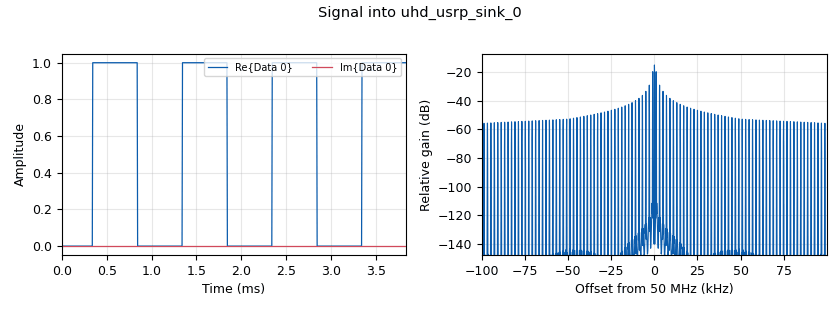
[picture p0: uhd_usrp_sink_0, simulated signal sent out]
options:
  parameters:
    generate_options: qt_gui
    id: Lab3_P3
    output_language: python
    title: configuracionUSRP
  states: {}

blocks:
- name: A
  id: variable_qtgui_range
  parameters:
    label: Amplitud señal TX
    start: '0'
    step: '100e-6'
    stop: '1'
    value: '1'
  states: {}
- name: GTX
  id: variable_qtgui_range
  parameters:
    label: ganancia del TX
    start: '0'
    step: '1'
    stop: '30'
    value: '0'
  states: {}
- name: fc
  id: variable_qtgui_range
  parameters:
    label: frecuencia portadora
    start: '50000000'
    step: '1000000'
    stop: '2200000000'
    value: '50000000'
  states: {}
- name: samp_rate
  id: variable
  parameters:
    value: '200000'
  states: {}
- name: analog_sig_source_x_0
  id: analog_sig_source_x
  parameters:
    amp: A
    freq: '1000'
    offset: '0'
    phase: '0'
    samp_rate: samp_rate
    type: float
    waveform: analog.GR_SQR_WAVE
  states: {}
- name: blocks_float_to_complex_0
  id: blocks_float_to_complex
  parameters: {}
  states: {}
- name: uhd_usrp_sink_0
  id: uhd_usrp_sink
  parameters:
    ant0: '"TX/RX"'
    center_freq0: fc
    dev_args: '""'
    gain0: GTX
    samp_rate: samp_rate
    sync: pc_clock
    type: fc32
  states: {}

connections:
- [analog_sig_source_x_0, '0', blocks_float_to_complex_0, '0']
- [blocks_float_to_complex_0, '0', uhd_usrp_sink_0, '0']

metadata:
  file_format: 1
  grc_version: 3.10.5.1
